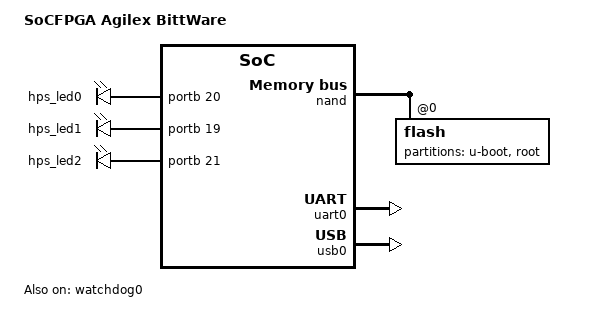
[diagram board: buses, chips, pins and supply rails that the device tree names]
// SPDX-License-Identifier:     GPL-2.0
/*
 * Copyright (C) 2019, Intel Corporation
 */
#include "socfpga_agilex.dtsi"
#include "socfpga_agilex_pcie_root_port.dtsi"
/ {
	model = "SoCFPGA Agilex BittWare";

	aliases {
		serial0 = &uart0;
		ethernet0 = &gmac0;
		ethernet1 = &gmac1;
		ethernet2 = &gmac2;
	};

	chosen {
		stdout-path = "serial0:115200n8";
	};

	leds {
		compatible = "gpio-leds";
		led0 {
			label = "hps_led0";
			gpios = <&portb 20 GPIO_ACTIVE_HIGH>;
		};

		led1 {
			label = "hps_led1";
			gpios = <&portb 19 GPIO_ACTIVE_HIGH>;
		};

		led2 {
			label = "hps_led2";
			gpios = <&portb 21 GPIO_ACTIVE_HIGH>;
		};
	};

	memory {
		device_type = "memory";
		/* We expect the bootloader to fill in the reg */
		reg = <0 0 0 0>;
	};

	reserved-memory {
          #address-cells = <1>;
          #size-cells = <1>;
          ranges;*/
          /* global autoconfigured region for contiguous allocations */
          linux,cma {
              compatible = "shared-dma-pool";
              reusable;
              size = <0x200000>;
              alignment = <0x2000>;
              linux,cma-default;
          };

	/* current allocation is 2 MB from 0x7F00_0000 to 0x7F1F_FFFF
	*  these allocaiton will change when we add more TXEs and standardize on 
	*  the space every TXE needs
	*/
          display_reserved: framebuffer@7F000000 {
              reg = <0x7F000000 0x100000>;
          };

          restricted_dma_reserved: restricted-dma-pool@FF1000000 {
              compatible = "restricted-dma-pool";
              reg = <0x7F100000 0x100000>;
          };
      };

};

&gpio1 {
	status = "okay";
};

&gmac2 {
	status = "disabled";
	phy-mode = "rgmii";
	phy-handle = <&phy0>;

	max-frame-size = <9000>;

	mdio0 {
		#address-cells = <1>;
		#size-cells = <0>;
		compatible = "snps,dwmac-mdio";
		phy0: ethernet-phy@0 {
			reg = <4>;

			txd0-skew-ps = <0>; /* -420ps */
			txd1-skew-ps = <0>; /* -420ps */
			txd2-skew-ps = <0>; /* -420ps */
			txd3-skew-ps = <0>; /* -420ps */
			rxd0-skew-ps = <420>; /* 0ps */
			rxd1-skew-ps = <420>; /* 0ps */
			rxd2-skew-ps = <420>; /* 0ps */
			rxd3-skew-ps = <420>; /* 0ps */
			txen-skew-ps = <0>; /* -420ps */
			txc-skew-ps = <900>; /* 0ps */
			rxdv-skew-ps = <420>; /* 0ps */
			rxc-skew-ps = <1680>; /* 780ps */
		};
	};
};

&nand {
	status = "okay";
	nand-bus-width = <8>;

	flash@0 {
		#address-cells = <1>;
		#size-cells = <1>;
		reg = <0>;
		nand-bus-width = <8>;

		partition@0 {
			label = "u-boot";
			reg = <0 0x200000>;
		};
		partition@200000 {
			label = "root";
			reg = <0x200000 0x1fe00000>;
		};
	};
};

&osc1 {
	clock-frequency = <25000000>;
};

&uart0 {
	status = "okay";
};

&usb0 {
	status = "okay";
	disable-over-current;
};

&watchdog0 {
	status = "okay";
};

&temp_volt {
	voltage {
		#address-cells = <1>;
		#size-cells = <0>;
		input@2 {
			label = "0.8V VCC";
			reg = <2>;
		};

		input@3 {
			label = "1.8V VCCIO_SDM";
			reg = <3>;
		};

		input@4 {
			label = "1.8V VCCPT";
			reg = <4>;
		};

		input@5 {
			label = "1.2V VCCCRCORE";
			reg = <5>;
		};

		input@6 {
			label = "0.9V VCCH";
			reg = <6>;
		};

		input@7 {
			label = "0.8V VCCL";
			reg = <7>;
		};
	};

	temperature {
		#address-cells = <1>;
		#size-cells = <0>;

		input@0 {
			label = "Main Die SDM";
			reg = <0x0>;
		};

		input@10000 {
			label = "Main Die corner bottom left max";
			reg = <0x10000>;
		};

		input@20000 {
			label = "Main Die corner top left max";
			reg = <0x20000>;
		};

		input@30000 {
			label = "Main Die corner bottom right max";
			reg = <0x30000>;
		};

		input@40000 {
			label = "Main Die corner top right max";
			reg = <0x40000>;
		};
	};
};

/*&pcie_0_pcie_aglx {
	status = "okay";
	compatible = "altr,pcie-root-port-3.0-f-tile";
};*/

